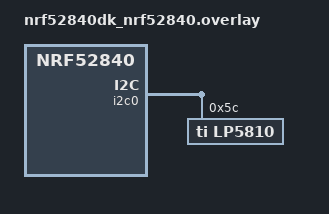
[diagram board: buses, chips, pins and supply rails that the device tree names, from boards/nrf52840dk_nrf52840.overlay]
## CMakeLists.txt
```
# Specify the minimum version of CMake required
cmake_minimum_required(VERSION 3.20)

# Include the Zephyr build system
find_package(Zephyr REQUIRED HINTS $ENV{ZEPHYR_BASE})

# Specify the project name
project(lp5810-zephyr-driver)
#add_subdirectory(drivers) # for some reason this does not work instead I have added drivers/led/lp5810.c to target_sources

# Add your source files here
target_sources(app PRIVATE src/main.c drivers/led/lp5810.c)
```

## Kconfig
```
menu "Zephyr"
source "Kconfig.zephyr"
endmenu

module = APP
module-str = APP
source "subsys/logging/Kconfig.template.log_config"

rsource "drivers/Kconfig"
```

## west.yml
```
manifest:
  self:
    path: application
  remotes:
    - name: nrf
      url-base: https://github.com/nrfconnect
  projects:
    - name: sdk-nrf
      remote: nrf
      path: nrf
      revision: v2.2.0
      import:
        path-prefix: external
```

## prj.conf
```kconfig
CONFIG_GPIO=y
CONFIG_LED=y
CONFIG_LP5810=y
CONFIG_LOG=y
CONFIG_LOG_DEFAULT_LEVEL=4
CONFIG_I2C_SHELL=y
CONFIG_SHELL=y
```

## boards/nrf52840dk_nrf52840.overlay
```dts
/* SPDX-License-Identifier: Apache-2.0 */

&i2c0 {
	lp5810@5c {
		compatible = "ti,lp5810";
		reg = <0x5c>;
	};
};
```

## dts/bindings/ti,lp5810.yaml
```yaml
description: TI LP5810 LED

compatible: "ti,lp5810"

include: i2c-device.yaml
```

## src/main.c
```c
/*
 * Copyright (c) 2016 Intel Corporation
 *
 * SPDX-License-Identifier: Apache-2.0
 */

#include <stdlib.h>
#include <zephyr/kernel.h>
#include <zephyr/drivers/led.h>
#include <zephyr/shell/shell.h>
#include <zephyr/logging/log.h>
LOG_MODULE_REGISTER(main);

//testboard only has 3 leds: RGB, no seperate white led
#define NUM_LEDS 3
#define LED_R 2
#define LED_G 1
#define LED_B 0

#define BLINK_DELAY_ON 500
#define BLINK_DELAY_OFF 500
#define DELAY_TIME 2000
#define COLORS_TO_SHOW 7

static uint8_t colors[COLORS_TO_SHOW][3] = {
	{ 100, 100, 100 }, /*< White  */
	{ 100, 100,   0 }, /*< Yellow */
	{ 100,   0, 100 }, /*< Pink */
	{   0, 100, 100 }, /*< Cyan */
    {  63,  12,  94 }, /*< Purple */
	{ 100,  65,   0 }, /*< Orange */
    {  24,  71,  54 }, /*< Mint */
};


static void all_leds_off(const struct device *dev)
{
	for (int i = 0; i < NUM_LEDS; i++) {
		led_off(dev, i);
	}
}

static void test_individual_leds(const struct device *dev)
{
	for (int i = 0; i < NUM_LEDS; i++) {
		all_leds_off(dev);
		led_on(dev, i);
		k_msleep(DELAY_TIME);
	}
	all_leds_off(dev);
}

static void show_colors(const struct device *dev)
{
	for (int i = 0; i < COLORS_TO_SHOW; i++) {
		int ret = led_set_brightness(dev, LED_R, colors[i][0]);
		if (ret) {
			LOG_ERR("Failed to set color red.");
			return;
		}
		ret = led_set_brightness(dev, LED_G, colors[i][1]);
		if (ret) {
			LOG_ERR("Failed to set color green.");
			return;
		}
		ret = led_set_brightness(dev, LED_B, colors[i][2]);
		if (ret) {
			LOG_ERR("Failed to set color blue.");
			return;
		}
		k_msleep(DELAY_TIME);
	}
	all_leds_off(dev);
}
static void test_individual_leds_blinking(const struct device *dev)
{
	for (int i = 0; i < NUM_LEDS; i++) {
		all_leds_off(dev);
		int ret = led_blink(dev, i, BLINK_DELAY_ON, BLINK_DELAY_OFF);
		if (ret) {
			LOG_ERR("Failed to blink %d", i);
			return;
		}
		k_msleep(2*DELAY_TIME);
	}
	all_leds_off(dev);
}

static void test_white_blinking(const struct device *dev)
{
	int ret = 0;
	all_leds_off(dev);
	for (int i = 0; i < NUM_LEDS; i++) {
	    ret = led_blink(dev, i, BLINK_DELAY_ON, BLINK_DELAY_OFF);
		if (ret) {
			LOG_ERR("Failed to blink %d", i);
			return;
		}
		ret = led_set_brightness(dev, i, 100);
		if (ret) {
			LOG_ERR("Failed to set brightness %d", i);
			return;
		}
	}
	k_msleep(2*DELAY_TIME);
	all_leds_off(dev);
}

void main(void)
{
	const struct device *const dev = DEVICE_DT_GET_ANY(ti_lp5810);
	if (!device_is_ready(dev)) {
		LOG_ERR("LED device %s is not ready", dev->name);
		return;
	}
	LOG_INF("Found LED device %s", dev->name);

	LOG_INF("Testing leds: static color");

	test_individual_leds(dev);

	LOG_INF("mixing colors, static");
	show_colors(dev);

	LOG_INF("RGB colors, seperately blinking");
	test_individual_leds_blinking(dev);

	LOG_INF("combined white blinking");
	test_white_blinking(dev);
}

static int cmd_color(const struct shell *shell, size_t argc, char *argv[])
{
	const struct device *const dev = DEVICE_DT_GET_ANY(ti_lp5810);
	if (argc <= 3)
	{
		shell_print(shell,"provide 3 color values");
		return 0;
	}

	//convert string to int
	uint8_t color[3];
	for (int i = 0; i < 3; i++)
	{
		color[i] = strtol(argv[i + 1], NULL, 0);
	}
	for (int i = 0; i < 3; i++) {
		led_on(dev, i);
	}
	int ret = led_set_brightness(dev, LED_R, color[0]);
	if (ret) {
		LOG_ERR("Failed to set brightness red.");
		return 0;
	}
	ret = led_set_brightness(dev, LED_G, color[1]);
	if (ret) {
		LOG_ERR("Failed to set brightness green.");
		return 0;
	}
	ret = led_set_brightness(dev, LED_B, color[2]);
	if (ret) {
		LOG_ERR("Failed to set brightness blue.");
		return 0;
	}

	return 0;
}
static int cmd_blink(const struct shell *shell, size_t argc, char *argv[])
{
	const struct device *const dev = DEVICE_DT_GET_ANY(ti_lp5810);
	if (argc <= 4)
	{
		shell_print(shell,"provide 3 color values and time in msec");
		return 0;
	}

	//convert string to int
	uint8_t color[3];
	for (int i = 0; i < 3; i++)
	{
		color[i] = strtol(argv[i + 1], NULL, 0);
	}
	int delay = strtol(argv[4], NULL, 0);
	int ret = led_blink(dev, LED_R, delay, delay);
	if (ret) {
		LOG_ERR("Failed to blink red.");
		return 0;
	}
	ret = led_blink(dev, LED_G, delay, delay);
	if (ret) {
		LOG_ERR("Failed to blink red.");
		return 0;
	}
	ret = led_blink(dev, LED_B, delay, delay);
	if (ret) {
		LOG_ERR("Failed to blink red.");
		return 0;
	}

	ret = led_set_brightness(dev, LED_R, color[0]);
	if (ret) {
		LOG_ERR("Failed to set color red.");
		return 0;
	}
	ret = led_set_brightness(dev, LED_G, color[1]);
	if (ret) {
		LOG_ERR("Failed to set color green.");
		return 0;
	}
	ret = led_set_brightness(dev, LED_B, color[2]);
	if (ret) {
		LOG_ERR("Failed to set color blue.");
		return 0;
	}

	return 0;
}

SHELL_STATIC_SUBCMD_SET_CREATE(sub_test_led,
	SHELL_CMD_ARG(color, NULL, "steady color\n", cmd_color, 1, 3),
	SHELL_CMD_ARG(blink, NULL, "reset the k210 chip\n", cmd_blink, 1, 4),
	SHELL_SUBCMD_SET_END /* Array terminated. */
);

SHELL_CMD_REGISTER(test_led, &sub_test_led, "testing LEDs related commands.", NULL);
```
